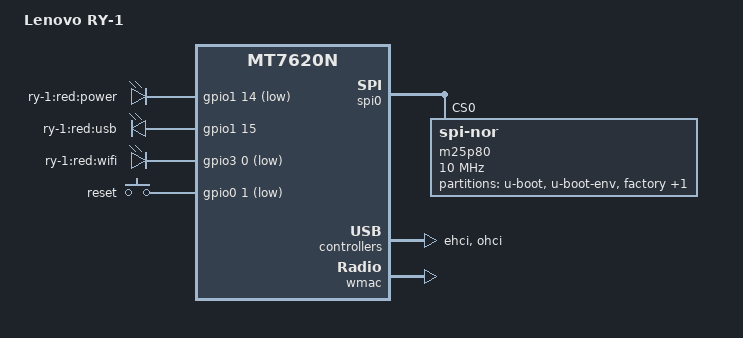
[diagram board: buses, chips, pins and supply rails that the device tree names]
/dts-v1/;

#include "mt7620n.dtsi"

#include <dt-bindings/gpio/gpio.h>
#include <dt-bindings/input/input.h>

/ {
	compatible = "lenovo,ry-1", "ralink,mt7620n-soc";
	model = "Lenovo RY-1";

	aliases {
		led-boot = &led_power;
		led-failsafe = &led_power;
		led-running = &led_power;
		led-upgrade = &led_power;
	};

	leds {
		compatible = "gpio-leds";

		led_power: power {
			label = "ry-1:red:power";
			gpios = <&gpio1 14 GPIO_ACTIVE_LOW>;
		};

		usb {
			label = "ry-1:red:usb";
			gpios = <&gpio1 15 GPIO_ACTIVE_HIGH>;
			trigger-sources = <&ohci_port1>, <&ehci_port1>;
			linux,default-trigger = "usbport";
		};

		wifi {
			label = "ry-1:red:wifi";
			gpios = <&gpio3 0 GPIO_ACTIVE_LOW>;
			default-state = "off";
		};
	};

	keys {
		compatible = "gpio-keys-polled";
		poll-interval = <20>;

		reset {
			label = "reset";
			gpios = <&gpio0 1 GPIO_ACTIVE_LOW>;
			linux,code = <KEY_RESTART>;
		};
	};
};

&gpio1 {
	status = "okay";
};

&gpio3 {
	status = "okay";
};

&spi0 {
	status = "okay";

	m25p80@0 {
		compatible = "jedec,spi-nor";
		reg = <0>;
		spi-max-frequency = <10000000>;

		partitions {
			compatible = "fixed-partitions";
			#address-cells = <1>;
			#size-cells = <1>;

			partition@0 {
				label = "u-boot";
				reg = <0x0 0x30000>;
				read-only;
			};

			partition@30000 {
				label = "u-boot-env";
				reg = <0x30000 0x10000>;
				read-only;
			};

			factory: partition@40000 {
				label = "factory";
				reg = <0x40000 0x10000>;
				read-only;
			};

			partition@50000 {
				compatible = "denx,uimage";
				label = "firmware";
				reg = <0x50000 0xfb0000>;
			};
		};
	};
};

&ehci {
	status = "okay";
};

&ohci {
	status = "okay";
};

&ethernet {
	mtd-mac-address = <&factory 0x4>;
	mediatek,portmap = "wllll";
};

&wmac {
	ralink,mtd-eeprom = <&factory 0>;
};

&pinctrl {
	state_default: pinctrl0 {
		default {
			ralink,group = "wled", "i2c", "spi refclk";
			ralink,function = "gpio";
		};
	};
};
